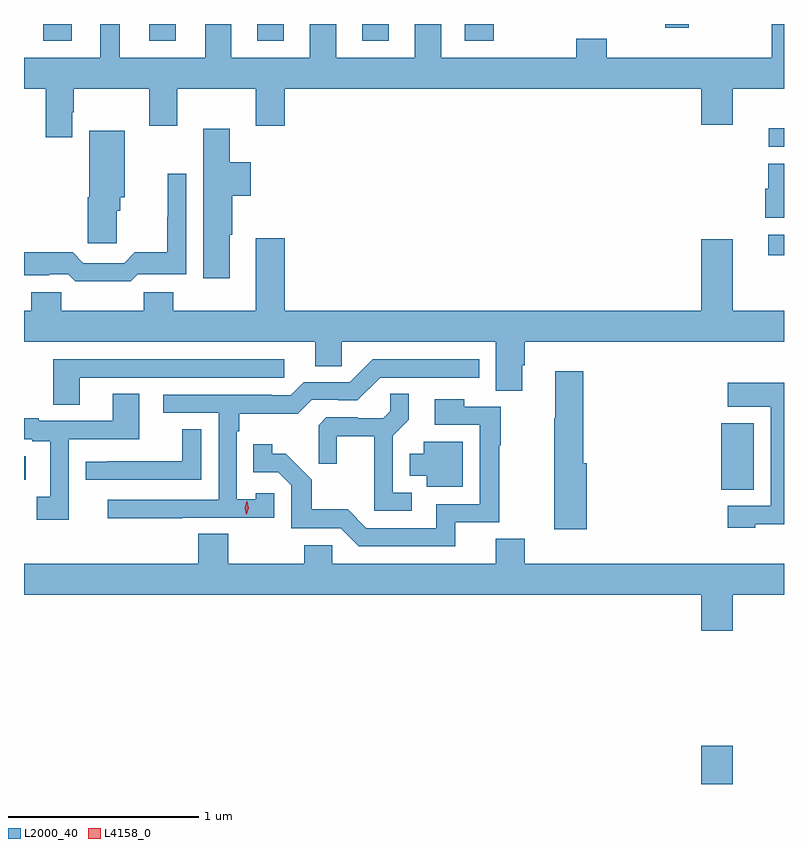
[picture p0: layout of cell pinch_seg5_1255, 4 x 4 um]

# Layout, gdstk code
import gdstk
lib = gdstk.Library(unit=1e-6, precision=1e-09)
def R(c, l, rs):  # rectangles x0, y0, x1, y1
    for r in rs: c.add(gdstk.rectangle(r[:2], r[2:], *l))
def P(c, l, *ps):  # polygons
    for p in ps: c.add(gdstk.Polygon(p, *l))
L2000_40 = (2000, 40)
L4158_0 = (4158, 0)

pinch_seg5_1255 = lib.new_cell('pinch_seg5_1255')
R(pinch_seg5_1255, L2000_40, [(452.72,858.429,452.884,858.631), (452.825,859.978,452.995,860.329), (449.155,860.031,449.164,860.155), (453.072,861.213,453.155,861.321), (453.075,861.783,453.155,861.881), (449.255,862.341,449.407,862.429), (449.813,862.341,449.953,862.429), (450.383,862.341,450.523,862.429), (450.935,862.341,451.075,862.429), (451.475,862.341,451.627,862.429), (452.531,862.41,452.654,862.429)])
P(pinch_seg5_1255, L2000_40, [(449.41,861.964),(449.418,861.964),(449.418,862.088),(449.815,862.088),(449.815,861.894),(449.962,861.894),(449.962,862.088),(450.374,862.088),(450.374,861.894),(450.527,861.894),(450.527,862.088),(452.72,862.088),(452.72,861.9),(452.884,861.9),(452.884,862.088),(453.155,862.088),(453.155,862.429),(453.09,862.429),(453.09,862.252),(452.222,862.252),(452.222,862.351),(452.062,862.351),(452.062,862.252),(451.351,862.252),(451.351,862.429),(451.211,862.429),(451.211,862.252),(450.799,862.252),(450.799,862.429),(450.659,862.429),(450.659,862.252),(450.247,862.252),(450.247,862.429),(450.108,862.429),(450.108,862.252),(449.659,862.252),(449.659,862.429),(449.555,862.429),(449.555,862.252),(449.155,862.252),(449.155,862.088),(449.27,862.088),(449.27,861.834),(449.41,861.834)],
  [(450.238,861.321),(450.251,861.321),(450.251,861.524),(450.349,861.524),(450.349,861.702),(450.238,861.702),(450.238,861.877),(450.098,861.877),(450.098,861.09),(450.238,861.09)],
  [(449.644,861.447),(449.662,861.447),(449.662,861.516),(449.686,861.516),(449.686,861.868),(449.498,861.868),(449.498,861.516),(449.491,861.516),(449.491,861.276),(449.644,861.276)],
  [(453.155,861.694),(453.071,861.694),(453.071,861.561),(453.056,861.561),(453.056,861.41),(453.155,861.41)],
  [(449.754,861.111),(450.009,861.111),(450.009,861.64),(449.911,861.64),(449.911,861.414),(449.908,861.414),(449.908,861.227),(449.738,861.227),(449.682,861.171),(449.466,861.171),(449.411,861.227),(449.155,861.227),(449.155,861.107),(449.288,861.107),(449.288,861.111),(449.388,861.111),(449.425,861.075),(449.718,861.075)],
  [(451.777,860.634),(451.79,860.634),(451.79,860.756),(453.155,860.756),(453.155,860.92),(452.884,860.92),(452.884,861.295),(452.72,861.295),(452.72,860.92),(450.527,860.92),(450.527,861.301),(450.374,861.301),(450.374,860.92),(449.94,860.92),(449.94,861.018),(449.785,861.018),(449.785,860.92),(449.352,860.92),(449.352,861.018),(449.192,861.018),(449.192,860.92),(449.155,860.92),(449.155,860.756),(450.689,860.756),(450.689,860.629),(450.828,860.629),(450.828,860.756),(451.637,860.756),(451.637,860.5),(451.777,860.5)],
  [(449.987,859.83),(450.471,859.83),(450.471,859.959),(450.375,859.959),(450.375,859.927),(450.276,859.927),(450.276,860.285),(450.289,860.285),(450.289,860.378),(450.596,860.378),(450.669,860.451),(450.808,860.451),(450.808,860.448),(450.909,860.448),(451.029,860.568),(451.552,860.568),(451.552,860.664),(450.99,860.664),(450.87,860.544),(450.627,860.544),(450.558,860.475),(450.458,860.475),(450.458,860.478),(449.889,860.478),(449.889,860.382),(450.18,860.382),(450.18,859.926),(449.595,859.926),(449.595,859.828),(449.987,859.828)],
  [(449.449,860.568),(450.526,860.568),(450.526,860.664),(449.309,860.664),(449.309,860.425),(449.449,860.425)],
  [(452.117,860.118),(452.099,860.118),(452.099,860.602),(451.952,860.602),(451.952,860.354),(451.945,860.354),(451.945,860.118),(451.946,860.118),(451.946,859.77),(452.117,859.77)],
  [(453.003,859.797),(453.155,859.797),(453.155,860.541),(453.087,860.541),(453.087,860.542),(452.859,860.542),(452.859,860.414),(453.084,860.414),(453.084,859.893),(452.859,859.893),(452.859,859.778),(453.003,859.778)],
  [(449.391,860.244),(449.761,860.244),(449.761,860.483),(449.621,860.483),(449.621,860.34),(449.233,860.34),(449.233,860.353),(449.155,860.353),(449.155,860.244),(449.198,860.244),(449.198,860.232),(449.294,860.232),(449.294,859.941),(449.223,859.941),(449.223,859.821),(449.391,859.821)],
  [(451.195,859.962),(451.095,859.962),(451.095,860.261),(451.181,860.347),(451.181,860.483),(451.083,860.483),(451.083,860.392),(451.046,860.355),(450.912,860.355),(450.912,860.358),(450.747,860.358),(450.706,860.317),(450.706,860.115),(450.8,860.115),(450.8,860.258),(450.998,860.258),(450.998,859.866),(451.195,859.866)],
  [(451.424,859.806),(451.655,859.806),(451.655,860.212),(451.663,860.212),(451.663,860.415),(451.473,860.415),(451.473,860.455),(451.317,860.455),(451.317,860.319),(451.554,860.319),(451.554,859.902),(451.325,859.902),(451.325,859.776),(450.957,859.776),(450.859,859.875),(450.67,859.875),(450.67,860.03),(450.532,860.168),(450.462,860.168),(450.462,860.218),(450.361,860.218),(450.361,860.07),(450.492,860.07),(450.561,860.001),(450.561,859.776),(450.822,859.776),(450.918,859.68),(451.424,859.68)],
  [(450.087,860.297),(449.989,860.297),(449.989,860.127),(449.593,860.127),(449.593,860.126),(449.481,860.126),(449.481,860.031),(450.087,860.031)],
  [(451.465,860.23),(451.259,860.23),(451.259,860.167),(451.184,860.167),(451.184,860.051),(451.274,860.051),(451.274,859.994),(451.465,859.994)],
  [(452.884,859.424),(453.155,859.424),(453.155,859.588),(451.79,859.588),(451.79,859.721),(451.637,859.721),(451.637,859.588),(450.777,859.588),(450.777,859.686),(450.631,859.686),(450.631,859.588),(450.231,859.588),(450.231,859.745),(450.071,859.745),(450.071,859.588),(449.155,859.588),(449.155,859.424),(452.72,859.424),(452.72,859.236),(452.884,859.236)])
P(pinch_seg5_1255, L4158_0, [(450.326,859.845),(450.326,859.845),(450.317,859.882),(450.328,859.917),(450.328,859.917),(450.329,859.917),(450.337,859.881),(450.326,859.845)])

lib.write_gds('pinch_seg5_1255.gds')
